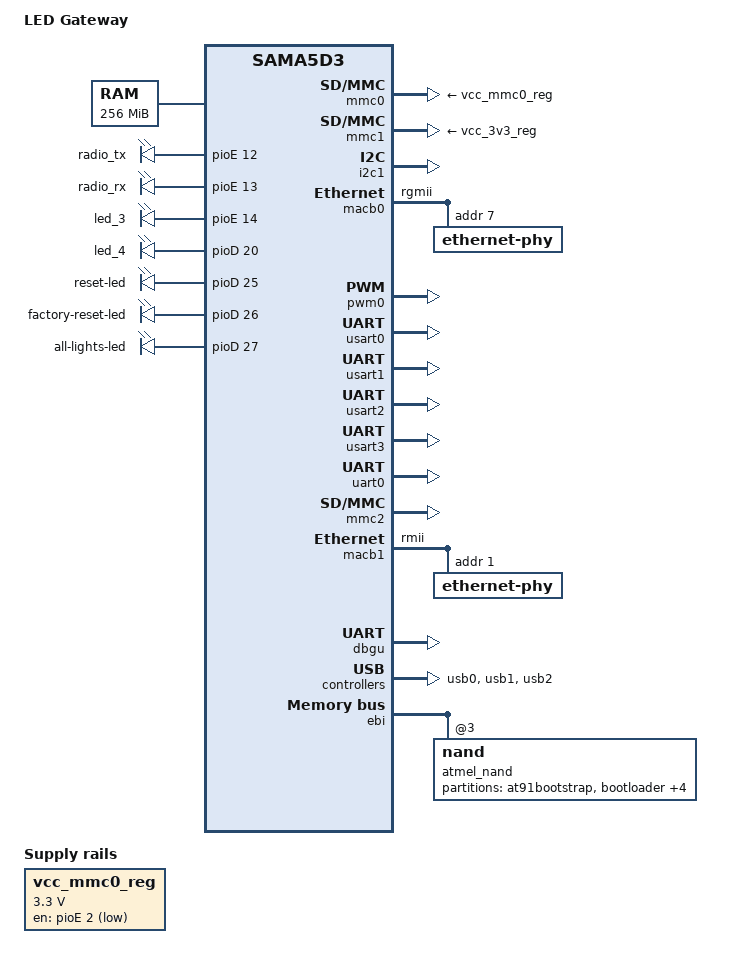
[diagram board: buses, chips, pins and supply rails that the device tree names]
/*
 * at91-sama5d3_xplained.dts - Device Tree file for the SAMA5D3 Xplained board
 *
 *  Copyright (C) 2014 Atmel,
 *		  2014 Nicolas Ferre <nicolas.ferre@atmel.com>
 *
 * Licensed under GPLv2 or later.
 */
/dts-v1/;
#include "sama5d36.dtsi"

/ {
	model = "LED Gateway";
	compatible = "atmel,sama5d3-xplained", "atmel,sama5d3", "atmel,sama5";

	chosen {
		stdout-path = "serial0:115200n8";
	};

	memory {
		reg = <0x20000000 0x10000000>;
	};

	clocks {
		slow_xtal {
			clock-frequency = <32768>;
		};

		main_xtal {
			clock-frequency = <12000000>;
		};
	};

	ahb {
		apb {
			mmc0: mmc@f0000000 {
				pinctrl-0 = <&pinctrl_mmc0_clk_cmd_dat0 &pinctrl_mmc0_dat1_3 &pinctrl_mmc0_dat4_7 &pinctrl_mmc0_cd>;
				vmmc-supply = <&vcc_mmc0_reg>;
				vqmmc-supply = <&vcc_3v3_reg>;
				status = "okay";
				slot@0 {
					reg = <0>;
					bus-width = <8>;
				};
			};

			mmc1: mmc@f8000000 {
				vmmc-supply = <&vcc_3v3_reg>;
				vqmmc-supply = <&vcc_3v3_reg>;
				status = "disabled";
				slot@0 {
					reg = <0>;
					bus-width = <4>;
					cd-gpios = <&pioE 1 GPIO_ACTIVE_LOW>;
				};
			};


			tcb0: timer@f0010000 {
				timer0: timer@0 {
					compatible = "atmel,tcb-timer";
					reg = <0>;
				};

				timer1: timer@1 {
					compatible = "atmel,tcb-timer";
					reg = <1>;
				};
			};

			i2c1: i2c@f0018000 {
				status = "okay";

				pmic: act8865@5b {
					compatible = "active-semi,act8865";
					reg = <0x5b>;
					status = "disabled";

					regulators {
						vcc_1v8_reg: DCDC_REG1 {
							regulator-name = "VCC_1V8";
							regulator-min-microvolt = <1800000>;
							regulator-max-microvolt = <1800000>;
							regulator-always-on;
						};

						vcc_1v2_reg: DCDC_REG2 {
							regulator-name = "VCC_1V2";
							regulator-min-microvolt = <1200000>;
							regulator-max-microvolt = <1200000>;
							regulator-always-on;
						};

						vcc_3v3_reg: DCDC_REG3 {
							regulator-name = "VCC_3V3";
							regulator-min-microvolt = <3300000>;
							regulator-max-microvolt = <3300000>;
							regulator-always-on;
						};

						vddfuse_reg: LDO_REG1 {
							regulator-name = "FUSE_2V5";
							regulator-min-microvolt = <2500000>;
							regulator-max-microvolt = <2500000>;
						};

						vddana_reg: LDO_REG2 {
							regulator-name = "VDDANA";
							regulator-min-microvolt = <3300000>;
							regulator-max-microvolt = <3300000>;
							regulator-always-on;
						};
					};
				};
			};

			macb0: ethernet@f0028000 {
				phy-mode = "rgmii";
				#address-cells = <1>;
				#size-cells = <0>;
				status = "okay";

				ethernet-phy@7 {
					reg = <0x7>;
				};
			};

			pwm0: pwm@f002c000 {
				pinctrl-names = "default";
				pinctrl-0 = <&pinctrl_pwm0_pwmh0_0 &pinctrl_pwm0_pwmh1_0>;
				status = "okay";
			};

			usart0: serial@f001c000 {
				pinctrl-0 = <&pinctrl_usart0 &pinctrl_usart0_rts_cts>;
				linux,rs485-enabled-at-boot-time;
				rs485-rts-delay = <0 0>;
				status = "okay";
			};

			usart1: serial@f0020000 {
				pinctrl-0 = <&pinctrl_usart1 &pinctrl_usart1_rts_cts>;
				linux,rs485-enabled-at-boot-time;
				rs485-rts-delay = <0 0>;
				status = "okay";
			};

			usart2: serial@f8020000 {
				pinctrl-0 = <&pinctrl_usart2 &pinctrl_usart2_rts_cts>;
				linux,rs485-enabled-at-boot-time;
				rs485-rts-delay = <0 0>;
				status = "okay";
			};

			usart3: serial@f8024000 {
				pinctrl-0 = <&pinctrl_usart2 &pinctrl_usart2_rts_cts>;
				linux,rs485-enabled-at-boot-time;
				rs485-rts-delay = <0 0>;
				status = "okay";
			};

			uart0: serial@f0024000 {
				status = "okay";
			};

			watchdog: watchdog@fffffe40 {
				status = "okay";
			};

			mmc1: mmc@f8000000 {
				//pinctrl-0 = <&pinctrl_mmc1_clk_cmd_dat0 &pinctrl_mmc1_dat1_3 &pinctrl_mmc1_cd>;
				status = "okay";
/*
				wlcore: wlcore@0 {
					compatible = "ti,wl18xx";
					//gpios = <&pinctrl_wlan_default>;
					interrupt-parent = <&pioE>;
					interrupts = <10 IRQ_TYPE_LEVEL_HIGH>;
				};
*/

				slot@0 {
					reg = <0>;
					bus-width = <4>;
				};
			};

			/* mmc2 = top mounted micro SD */
			mmc2: mmc@f8004000 {
				//dmas = <&dma1 3 AT91_DMA_CFG_PER_ID(0)>;
				status = "okay";
				slot@0 {
					reg = <0>;
					bus-width = <4>;
				};
			};

			adc0: adc@f8018000 {
				atmel,adc-vref = <3300>;
				atmel,adc-channels-used = <0xfe>;
				pinctrl-0 = <
					&pinctrl_adc0_adtrg
					&pinctrl_adc0_ad1
					&pinctrl_adc0_ad2
					&pinctrl_adc0_ad3
					&pinctrl_adc0_ad4
					&pinctrl_adc0_ad5
					&pinctrl_adc0_ad6
					&pinctrl_adc0_ad7
					>;
				status = "disabled";
			};

			macb1: ethernet@f802c000 {
				phy-mode = "rmii";
				#address-cells = <1>;
				#size-cells = <0>;
				status = "okay";

				ethernet-phy@1 {
					reg = <0x1>;
				};
			};

			dbgu: serial@ffffee00 {
				status = "okay";
			};

			pinctrl@fffff200 {
				board {
					pinctrl_mmc0_cd: mmc0_cd {
						atmel,pins =
							<AT91_PIOE 0 AT91_PERIPH_GPIO AT91_PINCTRL_PULL_UP_DEGLITCH>;
					};

					pinctrl_mmc1_cd: mmc1_cd {
						atmel,pins =
							<AT91_PIOE 1 AT91_PERIPH_GPIO AT91_PINCTRL_PULL_UP_DEGLITCH>;
					};

					pinctrl_usba_vbus: usba_vbus {
						atmel,pins =
							<AT91_PIOE 9 AT91_PERIPH_GPIO AT91_PINCTRL_DEGLITCH>;	/* PE9, conflicts with A9 */
					};

					pinctrl_all_lights_led: all_lights {
						atmel,pins = 
							<AT91_PIOD 27 AT91_PERIPH_GPIO AT91_PINCTRL_NONE>;
					};

					pinctrl_wlan_default: wlan_default {
						atmel,pins = 
							<AT91_PIOD 21 AT91_PERIPH_GPIO AT91_PINCTRL_NONE>;
					};

				};
			};
		};

		usb0: gadget@500000 {
			//atmel,vbus-gpio = <&pioE 9 GPIO_ACTIVE_HIGH>;	/* PE9, conflicts with A9 */
			pinctrl-names = "default";
			pinctrl-0 = <&pinctrl_usba_vbus>;
			status = "okay";
		};

		usb1: ohci@600000 {
			num-ports = <3>;
			atmel,vbus-gpio = <0
					   &pioE 3 GPIO_ACTIVE_LOW
					   &pioE 4 GPIO_ACTIVE_LOW
					  >;
			status = "okay";
		};

		usb2: ehci@700000 {
			status = "okay";
		};

		ebi: ebi@10000000 {
			pinctrl-0 = <&pinctrl_ebi_nand_addr>;
			pinctrl-names = "default";
			status = "okay";

			nand_controller: nand-controller {
				status = "okay";

				nand@3 {
					reg = <0x3 0x0 0x2>;
					atmel,rb = <0>;
					nand-bus-width = <8>;
					nand-ecc-mode = "hw";
					nand-ecc-strength = <4>;
					nand-ecc-step-size = <512>;
					nand-on-flash-bbt;
					label = "atmel_nand";

					partitions {
						compatible = "fixed-partitions";
						#address-cells = <1>;
						#size-cells = <1>;

						at91bootstrap@0 {
							label = "at91bootstrap";
							reg = <0x0 0x40000>;
						};

						bootloader@40000 {
							label = "bootloader";
							reg = <0x40000 0x80000>;
						};

						bootloaderenv@c0000 {
							label = "bootloader env";
							reg = <0xc0000 0xc0000>;
						};

						dtb@180000 {
							label = "device tree";
							reg = <0x180000 0x80000>;
						};

						kernel@200000 {
							label = "kernel";
							reg = <0x200000 0x600000>;
						};

						rootfs@800000 {
							label = "rootfs";
							reg = <0x800000 0x0f800000>;
						};
					};
				};
			};
		};
	};

	vcc_mmc0_reg: fixedregulator_mmc0 {
		compatible = "regulator-fixed";
		gpio = <&pioE 2 GPIO_ACTIVE_LOW>;
		regulator-name = "mmc0-card-supply";
		regulator-min-microvolt = <3300000>;
		regulator-max-microvolt = <3300000>;
		regulator-always-on;
	};

	leds {
		compatible = "gpio-leds";

		radio_tx {
			label = "radio_tx";
			gpios = <&pioE 12 GPIO_ACTIVE_HIGH>;
		};

		radio_rx {
			label = "radio_rx";
			gpios = <&pioE 13 GPIO_ACTIVE_HIGH>;
			default-state = "on";
		};

		led_3 {
			label = "led_3";
			gpios = <&pioE 14 GPIO_ACTIVE_HIGH>;
		};

		led_4 {
			label = "led_4";
			gpios = <&pioD 20 GPIO_ACTIVE_HIGH>;
			default-state = "on";
		};

		reset-led {
			label = "reset-led";
			gpios = <&pioD 25 GPIO_ACTIVE_HIGH>;
			linux,default-trigger = "heartbeat";
		};

		factory-reset-led {
			label = "factory-reset-led";
			gpios = <&pioD 26 GPIO_ACTIVE_HIGH>;
		};

		all-lights-led {
			label = "all-lights-led";
			gpios = <&pioD 27 GPIO_ACTIVE_HIGH>;
		};

	};
};
